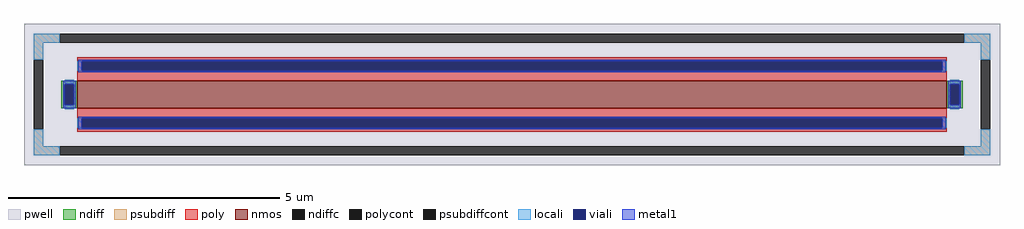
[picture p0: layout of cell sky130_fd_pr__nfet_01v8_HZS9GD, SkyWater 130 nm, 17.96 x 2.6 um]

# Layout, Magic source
magic
tech sky130A
<< pwell >>
rect -898 -130 898 130
<< nmos >>
rect -800 -25 800 25
<< ndiff >>
rect -829 19 -800 25
rect -829 -19 -823 19
rect -806 -19 -800 19
rect -829 -25 -800 -19
rect 800 19 829 25
rect 800 -19 806 19
rect 823 -19 829 19
rect 800 -25 829 -19
<< ndiffc >>
rect -823 -19 -806 19
rect 806 -19 823 19
<< psubdiff >>
rect -880 95 -832 112
rect 832 95 880 112
rect -880 64 -863 95
rect 863 64 880 95
rect -880 -95 -863 -64
rect 863 -95 880 -64
rect -880 -112 -832 -95
rect 832 -112 880 -95
<< psubdiffcont >>
rect -832 95 832 112
rect -880 -64 -863 64
rect 863 -64 880 64
rect -832 -112 832 -95
<< poly >>
rect -800 61 800 69
rect -800 44 -792 61
rect 792 44 800 61
rect -800 25 800 44
rect -800 -44 800 -25
rect -800 -61 -792 -44
rect 792 -61 800 -44
rect -800 -69 800 -61
<< polycont >>
rect -792 44 792 61
rect -792 -61 792 -44
<< locali >>
rect -880 95 -832 112
rect 832 95 880 112
rect -880 64 -863 95
rect 863 64 880 95
rect -800 44 -792 61
rect 792 44 800 61
rect -823 19 -806 27
rect -823 -27 -806 -19
rect 806 19 823 27
rect 806 -27 823 -19
rect -800 -61 -792 -44
rect 792 -61 800 -44
rect -880 -95 -863 -64
rect 863 -95 880 -64
rect -880 -112 -832 -95
rect 832 -112 880 -95
<< viali >>
rect -792 44 792 61
rect -823 -19 -806 19
rect 806 -19 823 19
rect -792 -61 792 -44
<< metal1 >>
rect -798 61 798 64
rect -798 44 -792 61
rect 792 44 798 61
rect -798 41 798 44
rect -826 19 -803 25
rect -826 -19 -823 19
rect -806 -19 -803 19
rect -826 -25 -803 -19
rect 803 19 826 25
rect 803 -19 806 19
rect 823 -19 826 19
rect 803 -25 826 -19
rect -798 -44 798 -41
rect -798 -61 -792 -44
rect 792 -61 798 -44
rect -798 -64 798 -61
<< properties >>
string FIXED_BBOX -871 -103 871 103
string gencell sky130_fd_pr__nfet_01v8
string library sky130
string parameters w 0.5 l 16.0 m 1 nf 1 diffcov 100 polycov 100 guard 1 glc 1 grc 1 gtc 1 gbc 1 tbcov 100 rlcov 100 topc 1 botc 1 poverlap 0 doverlap 1 lmin 0.15 wmin 0.42 compatible {sky130_fd_pr__nfet_01v8 sky130_fd_pr__nfet_01v8_lvt  sky130_fd_bs_flash__special_sonosfet_star  sky130_fd_pr__nfet_g5v0d10v5 sky130_fd_pr__nfet_05v0_nvt  sky130_fd_pr__nfet_03v3_nvt} full_metal 1 viasrc 100 viadrn 100 viagate 100 viagb 0 viagr 0 viagl 0 viagt 0
<< end >>
